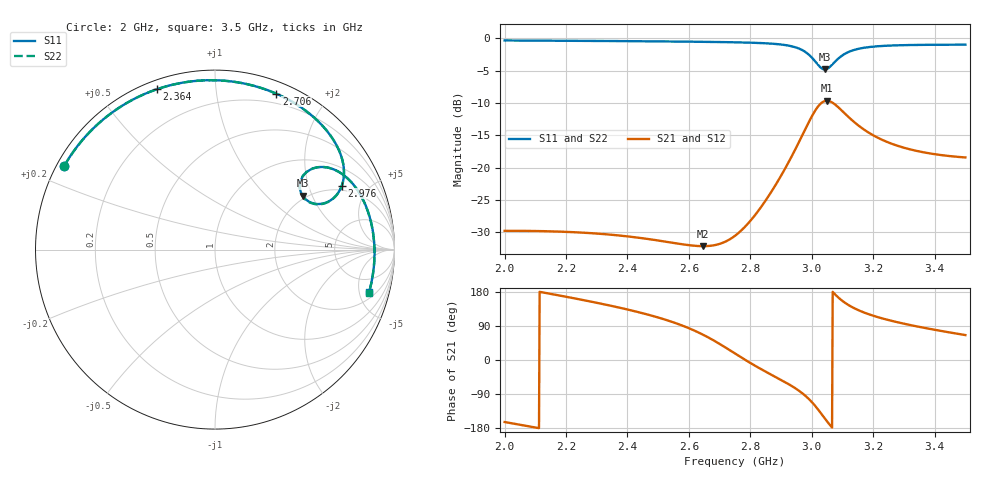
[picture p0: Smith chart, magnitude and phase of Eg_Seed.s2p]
! Touchstone file exported from HFSS 2022.1.0
!  File:  C:/Users/Hamza Safder/Downloads/PSF-V2 with holder (2).aedt
!  Generated:  11:27:56 PM  Sep 21, 2023
!  Design:  HFSSDesign1
!  Project:  PSF-V2 with holder (2)
!  Setup:  Setup1
!  Solution:  Sweep
! Variables:
!  WS = 5mm
!  ax = 15mm
!  az = 3.18mm
!  azd = 3mm
!  bx = 13mm
!  bx2 = 12.5mm
!  bx3 = 3.16mm
!  cin = 27.8mm
!  gap = 0.7mm
!  mid = 3mm
!  shift = 21.24mm
!  strip_1L = 18.62mm
!  substrate_L = 80mm
!  substrate_W = 70mm
!  t = 3mm
!  w50 = 9.18mm
!  wt = 1mm
!  xs = 0.8mm
!  zzz = 8mm
# GHz S MA R 50.000000
! Terminal data exported
! Port[1] = ground_T1
! Port[2] = ground_T2
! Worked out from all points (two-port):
!   751 points, 2 GHz to 3.5 GHz, reference 50 ohm
!   highest |S21| = -9.68 dB at 3.05 GHz (marker M1); lowest = -32.2 dB at 2.646 GHz (marker M2)
!   |S21| within 3 dB of the highest: 2.994 GHz to 3.131 GHz (137.3 MHz wide, 4.48 % of centre)
!   lowest |S11| = -4.8 dB at 3.042 GHz (marker M3), VSWR 3.68, Z = 95.2 + j85.3 ohm
!   |S11| at or under -10 dB: nowhere
!   |S22| runs from -4.9 to -0.3 dB; largest |S21 - S12| = 5.9e-15
!   S11 on the Smith chart (normalised r, x): 2 GHz: 0.02, +0.26; 2.364 GHz: 0.04, +0.70; 2.706 GHz: 0.11, +1.46; 2.976 GHz: 1.75, +3.34; 3.5 GHz: 2.67, -6.19
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2  0.9606 150.8  0.03242 -163.7  0.03242 -163.7  0.9605 150.9
! Gamma 0 0 0 0
! Port Impedance 50 0 50 0
2.12  0.9577 137.6  0.03224 179.0  0.03224 179.0  0.9576 137.7
2.25  0.954 123.0  0.03141 159.1  0.03141 159.1  0.9539 123.0
2.364  0.9503 109.9  0.02997 139.9  0.02997 139.9  0.9502 109.9
2.5  0.9451 93.9  0.02727 112.1  0.02727 112.1  0.9449 93.9
2.646  0.9377 76.1  0.02466 66.7  0.02466 66.7  0.9375 76.1
2.706  0.9336 68.5  0.02597 39.5  0.02597 39.5  0.9334 68.5
2.75  0.9297 62.8  0.02967 17.2  0.02967 17.2  0.9294 62.8
2.8  0.9235 56.1  0.0387 -7.9  0.0387 -7.9  0.9232 56.1
2.856  0.9117 48.0  0.05854 -33.5  0.05854 -33.5  0.9115 48.0
2.93  0.8707 35.7  0.1164 -66.3  0.1164 -66.3  0.8702 35.6
2.976  0.7914 26.8  0.1918 -92.3  0.1918 -92.3  0.7905 26.7
3  0.7089 23.2  0.2484 -110.9  0.2484 -110.9  0.7076 23.1
3.022  0.616 24.5  0.2999 -132.2  0.2999 -132.2  0.614 24.4
3.042  0.5731 31.7  0.3263 -153.8  0.3263 -153.8  0.5708 31.6
3.05  0.5795 35.0  0.3282 -162.4  0.3282 -162.4  0.5772 35.0
3.082  0.6812 40.1  0.2986 168.2  0.2986 168.2  0.6797 40.2
3.114  0.7714 36.4  0.2529 147.8  0.2529 147.8  0.7706 36.5
3.174  0.8463 26.6  0.1936 124.1  0.1936 124.1  0.8459 26.6
3.25  0.8761 15.4  0.156 105.3  0.156 105.3  0.8759 15.4
3.366  0.8885 0.4  0.1308 84.9  0.1308 84.9  0.8884 0.4
3.5  0.8909 -15.6  0.1196 65.8  0.1196 65.8  0.8908 -15.6
